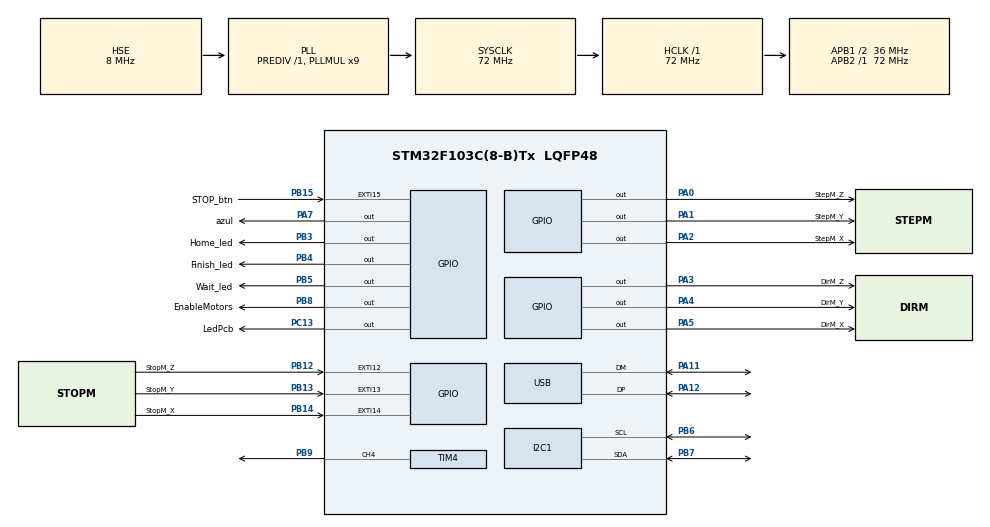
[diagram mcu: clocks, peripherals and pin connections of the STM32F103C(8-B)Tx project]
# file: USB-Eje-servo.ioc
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Mcu.Family=STM32F1
Mcu.Name=STM32F103C(8-B)Tx
Mcu.Package=LQFP48
NVIC.EXTI15_10_IRQn=true\:0\:0\:false\:false\:true\:true\:true\:true
NVIC.PriorityGroup=NVIC_PRIORITYGROUP_4
NVIC.TIM2_IRQn=true\:0\:0\:false\:false\:true\:true\:true\:true
NVIC.TIM3_IRQn=true\:0\:0\:false\:false\:true\:true\:true\:true
NVIC.USB_LP_CAN1_RX0_IRQn=true\:0\:0\:false\:false\:true\:false\:true\:true
PA0-WKUP.GPIO_Label=StepM_Z
PA0-WKUP.Signal=GPIO_Output
PA1.GPIO_Label=StepM_Y
PA1.Signal=GPIO_Output
PA11.Mode=Device
PA11.Signal=USB_DM
PA12.Mode=Device
PA12.Signal=USB_DP
PA13.Mode=Serial_Wire
PA13.Signal=SYS_JTMS-SWDIO
PA14.Mode=Serial_Wire
PA14.Signal=SYS_JTCK-SWCLK
PA2.GPIO_Label=StepM_X
PA2.Signal=GPIO_Output
PA3.GPIO_Label=DirM_Z
PA3.Signal=GPIO_Output
PA4.GPIO_Label=DirM_Y
PA4.Signal=GPIO_Output
PA5.GPIO_Label=DirM_X
PA5.Signal=GPIO_Output
PA7.GPIO_Label=azul
PA7.Signal=GPIO_Output
PB12.GPIO_Label=StopM_Z
PB12.Signal=GPXTI12
PB13.GPIO_Label=StopM_Y
PB13.Signal=GPXTI13
PB14.GPIO_Label=StopM_X
PB14.Signal=GPXTI14
PB15.GPIO_Label=STOP_btn
PB15.Signal=GPXTI15
PB3.GPIO_Label=Home_led
PB3.Signal=GPIO_Output
PB4.GPIO_Label=Finish_led
PB4.Signal=GPIO_Output
PB5.GPIO_Label=Wait_led
PB5.Signal=GPIO_Output
PB6.Mode=I2C
PB6.Signal=I2C1_SCL
PB7.Mode=I2C
PB7.Signal=I2C1_SDA
PB8.GPIO_Label=EnableMotors
PB8.Signal=GPIO_Output
PB9.Signal=S_TIM4_CH4
PC13-TAMPER-RTC.GPIO_Label=LedPcb
PC13-TAMPER-RTC.Signal=GPIO_Output
PC14-OSC32_IN.Mode=LSE-External-Oscillator
PC14-OSC32_IN.Signal=RCC_OSC32_IN
PC15-OSC32_OUT.Mode=LSE-External-Oscillator
PC15-OSC32_OUT.Signal=RCC_OSC32_OUT
PD0-OSC_IN.Mode=HSE-External-Oscillator
PD0-OSC_IN.Signal=RCC_OSC_IN
PD1-OSC_OUT.Mode=HSE-External-Oscillator
PD1-OSC_OUT.Signal=RCC_OSC_OUT
ProjectManager.HeapSize=0x200
ProjectManager.StackSize=0x400
ProjectManager.TargetToolchain=STM32CubeIDE
RCC.AHBFreq_Value=72000000
RCC.APB1CLKDivider=RCC_HCLK_DIV2
RCC.APB1Freq_Value=36000000
RCC.APB1TimFreq_Value=72000000
RCC.APB2Freq_Value=72000000
RCC.APB2TimFreq_Value=72000000
RCC.HCLKFreq_Value=72000000
RCC.PLLMUL=RCC_PLL_MUL9
RCC.SYSCLKFreq_VALUE=72000000
RCC.SYSCLKSource=RCC_SYSCLKSOURCE_PLLCLK
RCC.USBFreq_Value=48000000
RCC.USBPrescaler=RCC_USBCLKSOURCE_PLL_DIV1_5
SH.S_TIM4_CH4.0=TIM4_CH4,PWM Generation4 CH4
TIM2.Period=1000
TIM2.Prescaler=71
TIM3.Period=9999
TIM3.Prescaler=7199
TIM4.Channel-PWM\ Generation4\ CH4=TIM_CHANNEL_4
TIM4.Period=19999
TIM4.Prescaler=71
USB_DEVICE.CLASS_NAME_FS=CDC
USB_DEVICE.VirtualMode=Cdc
USB_DEVICE.VirtualModeFS=Cdc_FS
VP_TIM2_VS_ClockSourceINT.Mode=Internal
VP_TIM3_VS_ClockSourceINT.Mode=Internal
VP_TIM4_VS_ClockSourceINT.Mode=Internal
VP_USB_DEVICE_VS_USB_DEVICE_CDC_FS.Mode=CDC_FS
board=custom

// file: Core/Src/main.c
/* USER CODE BEGIN Header */
/**
  ******************************************************************************
  * @file           : main.c
  * @brief          : Main program body
  ******************************************************************************
  * @attention
  *
  * Copyright (c) 2023 STMicroelectronics.
  * All rights reserved.
  *
  * This software is licensed under terms that can be found in the LICENSE file
  * in the root directory of this software component.
  * If no LICENSE file comes with this software, it is provided AS-IS.
  *
  ******************************************************************************
  */
/* USER CODE END Header */
#include "main.h"
#include "i2c.h"
#include "tim.h"
#include "usb_device.h"
#include "gpio.h"

/* USER CODE BEGIN Includes */

#include "lcd_i2c.h"
#include <math.h>
#include <usbd_cdc_if.h>
#include <stdlib.h>
#include <stdio.h>
#include <string.h>

/* USER CODE END Includes */

/* USER CODE BEGIN PD */

//	Valores para el gripper sg90
#define PULSE_MIN 550
#define PULSE_MAX 2450

// Definición de las frecuencias de temporización (en Hertz)
#define TIMER_FREQUENCY 1000 // Por ejemplo, 1000 Hz (1 ms de intervalo)

// Número de motores que estás utilizando
#define NUM_MOTORS 3

/* USER CODE END PD */

/* USER CODE BEGIN PV */

// Motor's Struct
typedef struct {
    GPIO_TypeDef *stepPort;     // Puerto GPIO para el pin de paso (step)
    uint16_t stepPin;           // Número del pin de paso (step)
    GPIO_TypeDef *dirPort;      // Puerto GPIO para el pin de dirección (dir)
    uint16_t dirPin;            // Número del pin de dirección (dir)
    int direction;              // Dirección de movimiento (0 para positivo, 1 para negativo)
    int velocity;               // Velocidad del motor
    int microStepping;          // Configuración de microstepping
    int currentPosition;        // Posición actual del motor
    int newPosition;        	// Nueva posición del motor
    int stepCounter;            // Contador de pasos para controlar el intervalo
    int stepInterval;           // Intervalo entre pasos para controlar la velocidad
    int stopFlag;               // Bandera para detener el movimiento (0 para habilitar, 1 para detener)
} StepperMotor;

//	Cantidad de grados de libertad sin deflector final
StepperMotor motors[NUM_MOTORS];

//	Estado del deflector final
uint8_t estadoGarra = 0;

//	Vel Motors
uint16_t velMotor_X = 0;
uint16_t velMotor_Y = 0;
uint16_t velMotor_Z = 0;

//	Dir Motors
uint8_t DirM_X = 0;
uint8_t DirM_Y = 0;
uint8_t DirM_Z = 0;

// PROBAR DE CAMBIAR LOS PUNTEROS POR VALORES
//	FLAGS STOP GLOBALES
uint8_t flagStopM_X = 0;
uint8_t flagStopM_Y = 0;
uint8_t flagStopM_Z = 0;

//	FLAGS OPTICAL LIMIT SWITCH SENSOR PER AXIS GLOBALES
uint8_t opticalLimitSwitchSensor_X = 0;
uint8_t opticalLimitSwitchSensor_Y = 0;
uint8_t opticalLimitSwitchSensor_Z = 0;

///// Factor de microStepping
uint8_t microSteppingM_X = 1;
uint8_t microSteppingM_Y = 1;
uint8_t microSteppingM_Z = 1;

///// Flags de Homing
 uint8_t homeMotor_X = 0;
 uint8_t homeMotor_Y = 0;
 uint8_t homeMotor_Z = 0;
 int countHome = 0;

//	Cotador de segundos para el homming
uint8_t contSeconds = 0;

// Data to transmit CDC
char * data = "Hello World!";
uint8_t flagUsb = 0;
char buffer_rx[20];
char buffer_tx[40];
char buffer_data[5][6];
/*Buffer data
 * 0: Acción primaria
 * 1: Acción Secundaria
 * 2: Valores de velocidades
 * 3: Valores de posición
 * 4: Valor auxiliar
 */

//	LCD consts
uint8_t contador = 0;
char buf_lcd[18];

const char fig_1[8] = {0x0A, 0x0A, 0x0A, 0x00, 0x11, 0x11, 0x0E, 0x00};
const char fig_2[8] = {0x04, 0x11, 0x0E, 0x04, 0x04, 0x0A, 0x11, 0x00};
const char fig_3[8] = {0x00, 0x0A, 0x1F, 0x1F, 0x1F, 0x0E, 0x04, 0x00};
const char fig_4[8] = {0x0E, 0x1F, 0x1F, 0x0E, 0x0A, 0x11, 0x11, 0x00};
const char fig_5[8] = {0x04, 0x0E, 0x1F, 0x04, 0x04, 0x04, 0x04, 0x00};
const char fig_6[8] = {0x0E, 0x0A, 0x11, 0x11, 0x11, 0x1F, 0x1F, 0x00};
const char fig_7[8] = {0x04, 0x0E, 0x04, 0x04, 0x15, 0x15, 0x0E, 0x00};
const char fig_8[8] = {0x1F, 0x11, 0x0A, 0x04, 0x0A, 0x11, 0x1F, 0x00};

/* USER CODE END PV */

void SystemClock_Config(void);
/* USER CODE BEGIN PFP */

int HomingMotors(uint8_t* hmX, uint8_t* hmY, uint8_t* hmZ);
void ActivatedAll (int habilitar);
float deg2rad(float degrees);

//extern CircularBuffer<uint8_t> usbBuffer;
extern USBD_HandleTypeDef hUsbDeviceFS;
void CDC_FS_Substring(uint8_t inicioCadena, uint8_t finCadena, char* str, char* dst);

// Función para configurar el intervalo de paso en función de la velocidad del motor
void moveMotors(StepperMotor *motor, int * newPosition, int * velocity);
int targetComplete(StepperMotor *motor);

//	Función para mover el servo
void Servo_Write_angle(uint16_t theta);

/* USER CODE END PFP */

int main(void)
{

  /* MCU Configuration--------------------------------------------------------*/

  /* Reset of all peripherals, Initializes the Flash interface and the Systick. */
  HAL_Init();

  /* Configure the system clock */
  SystemClock_Config();

  /* Initialize all configured peripherals */
  MX_GPIO_Init();
  MX_TIM2_Init();
  MX_USB_DEVICE_Init();
  MX_TIM4_Init();
  MX_TIM3_Init();
  MX_I2C1_Init();
  /* USER CODE BEGIN 2 */

  // Apartado para inicializar el LCD
  Lcd_Init();

  ///// Configurar el bus Enable
  HAL_GPIO_WritePin(EnableMotors_GPIO_Port, EnableMotors_Pin, SET);

  // Inicialización de cada motor
  motors[0] = (StepperMotor){StepM_X_GPIO_Port, StepM_X_Pin, DirM_X_GPIO_Port, DirM_X_Pin, DirM_X, velMotor_X, microSteppingM_X, 0, 0, 0, 0, flagStopM_X};
  motors[1] = (StepperMotor){StepM_Y_GPIO_Port, StepM_Y_Pin, DirM_Y_GPIO_Port, DirM_Y_Pin, DirM_Y, velMotor_Y, microSteppingM_Y, 0, 0, 0, 0, flagStopM_Y};
  motors[2] = (StepperMotor){StepM_Z_GPIO_Port, StepM_Z_Pin, DirM_Z_GPIO_Port, DirM_Z_Pin, DirM_Z, velMotor_Z, microSteppingM_Z, 0, 0, 0, 0, flagStopM_Z};

  HAL_TIM_Base_Start_IT(&htim2);			// Iniciar el temporizador con interrupción
  HAL_TIM_PWM_Start(&htim4, TIM_CHANNEL_4);
  HAL_TIM_Base_Start_IT(&htim4);			// Iniciar el temporizador con interrupción
  HAL_TIM_Base_Start_IT(&htim3);

  // Envio datos al puerto USB
  CDC_Transmit_FS((uint8_t *) data, strlen (data));

  Lcd_Clear();
  Lcd_Set_Cursor(1,1);
  Lcd_Send_String("La Gaaarra!");
  Lcd_Set_Cursor(2,1);
  Lcd_Send_String("By: Mario uwu");
  Lcd_Set_Cursor(2,14);
  Lcd_Blink();
  HAL_Delay(2000);
  /* USER CODE END 2 */

  /* Infinite loop */
  /* USER CODE BEGIN WHILE */
  while (1)
  {
	  if(flagUsb == 1){
		  HAL_GPIO_TogglePin(LedPcb_GPIO_Port, LedPcb_Pin);
		  CDC_FS_Substring(1, 1, buffer_rx, buffer_data[0]);
//		  buffer_data[0] -> opcion
//		  if (*buffer_data[0] == 'H'){
		  if (buffer_data[0][0] == 'H'){
			  // Recordar poner ne homming el sevomotor también cerrado
			  Servo_Write_angle(0);
			  estadoGarra = 0;
			  int homeStatus = HomingMotors(&homeMotor_X, &homeMotor_Y, &homeMotor_Z);
//			  HAL_Delay(500);
			  if (homeStatus == 0){
				  sprintf(buffer_tx, "Home Status: %u\nHome exitoso!\r\n", homeStatus);
				  CDC_Transmit_FS((uint8_t*)buffer_tx, strlen(buffer_tx));
				  Lcd_Clear();
				  Lcd_Set_Cursor(1,1);
	 			  Lcd_Send_String("Home Status: OK");
	 			  Lcd_Set_Cursor(2,1);
	 			  Lcd_Send_String("X000|Y000|Z000|C");
				  HAL_Delay(150);
			  } else if (homeStatus == -1){
				  sprintf(buffer_tx, "Home Status: %u\nHome exitoso!\r\n", homeStatus);
				  CDC_Transmit_FS((uint8_t*)buffer_tx, strlen(buffer_tx));
				  Lcd_Clear();
				  Lcd_Set_Cursor(1,1);
	 			  Lcd_Send_String("Home Error: ejeX");
	 			  Lcd_Set_Cursor(2,1);
	 			  Lcd_Send_String("X???|Y000|Z000|C");
				  HAL_Delay(150);
			  } else if (homeStatus == -1){
				  sprintf(buffer_tx, "Home Status: %u\nFalla Home X!\r\n", homeStatus);
				  CDC_Transmit_FS((uint8_t*)buffer_tx, strlen(buffer_tx));
				  Lcd_Clear();
				  Lcd_Set_Cursor(1,1);
	 			  Lcd_Send_String("Home Error: ejeX");
	 			  Lcd_Set_Cursor(2,1);
	 			  Lcd_Send_String("X???|Y000|Z000|C");
				  HAL_Delay(150);
			  } else if (homeStatus == -2){
				  sprintf(buffer_tx, "Home Status: %u\nFalla Home Y!\r\n", homeStatus);
				  CDC_Transmit_FS((uint8_t*)buffer_tx, strlen(buffer_tx));
				  Lcd_Clear();
				  Lcd_Set_Cursor(1,1);
	 			  Lcd_Send_String("Home Error: ejeX");
	 			  Lcd_Set_Cursor(2,1);
	 			  Lcd_Send_String("X000|Y???|Z000|C");
				  HAL_Delay(150);
			  } else if (homeStatus == -3){
				  sprintf(buffer_tx, "Home Status: %u\nFalla Home Z!\r\n", homeStatus);
				  CDC_Transmit_FS((uint8_t*)buffer_tx, strlen(buffer_tx));
				  Lcd_Clear();
				  Lcd_Set_Cursor(1,1);
	 			  Lcd_Send_String("Home Error: ejeX");
	 			  Lcd_Set_Cursor(2,1);
	 			  Lcd_Send_String("X000|Y000|Z???|C");
				  HAL_Delay(150);
			  } else if (homeStatus == 1){
				  sprintf(buffer_tx, "Home Status: %u\nFalla en funcHome!\r\n", homeStatus);
				  CDC_Transmit_FS((uint8_t*)buffer_tx, strlen(buffer_tx));
				  Lcd_Clear();
				  Lcd_Set_Cursor(1,1);
	 			  Lcd_Send_String("ERROR Home: all!");
	 			  Lcd_Set_Cursor(2,1);
	 			  Lcd_Send_String("X???|Y???|Z???|?");
				  HAL_Delay(150);
			  }
			  HAL_Delay(1500);
		  }
		  //	CASO DE SETEO PARA VELOCIDADES GLOBALES
		  else if (buffer_data[0][0] == 'V'){
			  CDC_FS_Substring(2, 4, buffer_rx, buffer_data[2]);
			  for (int i = 0; i < NUM_MOTORS; ++i) {
				  motors[i].velocity = (uint8_t)atoi(buffer_data[2]);
			  }
			  Lcd_Set_Cursor(1,1);
//			  char v[4];
//			  sprintf(v, "%u", (uint8_t)atoi(buffer_data[2]));
// 			  Lcd_Send_String("Velocidades: %u", (uint8_t)atoi(buffer_data[2]));
			  sprintf(buffer_tx, "Velocidad globales seteadas.\r\n");
			  CDC_Transmit_FS((uint8_t*)buffer_tx, strlen(buffer_tx));
			  HAL_Delay(150);
		  }
		  //	CASO DE SETEO PARA VELOCIDADES POR EJES
		  else if (buffer_data[0][0] == 'v'){
			  for (int i = 0; i < NUM_MOTORS; ++i) {
				  motors[i].velocity = (uint8_t)atoi(buffer_data[2]);
			  }
			  CDC_FS_Substring(3, 5, buffer_rx, buffer_data[2]);
			  if (strcmp(buffer_data[1],"X")){
				  motors[0].velocity = (uint8_t)atoi(buffer_data[2]);
			  } else if (strcmp(buffer_data[1],"Y")){
				  motors[1].velocity = (uint8_t)atoi(buffer_data[2]);
			  } else if (strcmp(buffer_data[1],"Z")){
				  motors[2].velocity = (uint8_t)atoi(buffer_data[2]);
			  } else {
				  sprintf(buffer_tx, "Error en setear velocidades\r\n");
				  CDC_Transmit_FS((uint8_t*)buffer_tx, strlen(buffer_tx));
				  HAL_Delay(150);
			  }
		  }
		  //	CASO DE SETEO DE POSICIONES
		  else if (buffer_data[0][0] == 'D'){
			  char posiciones[3][5];
			  CDC_FS_Substring(2, 4, buffer_rx, posiciones[0]);
			  CDC_FS_Substring(6, 8, buffer_rx, posiciones[1]);
			  CDC_FS_Substring(9, 11, buffer_rx, posiciones[2]);
			  for (int i = 0; i < NUM_MOTORS; ++i) {
				  motors[i].newPosition = (uint8_t)atoi(buffer_data[i]);
			  }
		  }
		  //	CASO DE CONTROL DEL GRIPPER
		  else if (buffer_data[0][0] == 'P'){
			  CDC_FS_Substring(2, 4, buffer_rx, buffer_data[2]);
			  if (((uint8_t)atoi(buffer_data[2]) < 90) && ((uint8_t)atoi(buffer_data[2]) > 0)){
				  Servo_Write_angle((uint8_t)atoi(buffer_data[2]));
				  estadoGarra = 0;
				  sprintf(buffer_tx, "La Garra ha sido cerrada.\r\n");
				  CDC_Transmit_FS((uint8_t*)buffer_tx, strlen(buffer_tx));
				  Lcd_Set_Cursor(2, 16);
				  Lcd_Send_Char('C');
				  HAL_Delay(150);
			  } else if (((uint8_t)atoi(buffer_data[2]) >= 90)&& ((uint8_t)atoi(buffer_data[2]) > 0)){
				  Servo_Write_angle((uint8_t)atoi(buffer_data[2]));
				  estadoGarra = 1;
				  sprintf(buffer_tx, "La Garra ha sido abierta.\r\n");
				  CDC_Transmit_FS((uint8_t*)buffer_tx, strlen(buffer_tx));
				  Lcd_Set_Cursor(2, 16);
				  Lcd_Send_Char('A');
				  HAL_Delay(150);
			  } else {
				  sprintf(buffer_tx, "Error, valor invalido Gripper! \r\n");
				  CDC_Transmit_FS((uint8_t*)buffer_tx, strlen(buffer_tx));
				  Lcd_Set_Cursor(2, 16);
				  Lcd_Send_Char('?');
				  HAL_Delay(150);
			  }
		  }
		  //	CASO DE HABILITACION DE MOTORES
		  else if (buffer_data[0][0] == 'E'){
			  CDC_FS_Substring(2, 2, buffer_rx, buffer_data[2]);
			  if (((uint8_t)atoi(buffer_data[2]) == 1) && !((uint8_t)atoi(buffer_data[2]) < 0)){
				  ActivatedAll((uint8_t)atoi(buffer_data[2]));
				  sprintf(buffer_tx, "Se habilitaron los Motores.\r\n");
				  CDC_Transmit_FS((uint8_t*)buffer_tx, strlen(buffer_tx));
				  Lcd_Set_Cursor(1, 1);
				  Lcd_Send_String("Motores Enables!");
				  HAL_Delay(150);
			  } else if (((uint8_t)atoi(buffer_data[2]) == 0)&& !((uint8_t)atoi(buffer_data[2]) < 0)){
				  ActivatedAll((uint8_t)atoi(buffer_data[2]));
				  sprintf(buffer_tx, "Se deshabilitaron los Motores.\r\n");
				  CDC_Transmit_FS((uint8_t*)buffer_tx, strlen(buffer_tx));
				  Lcd_Set_Cursor(1, 1);
				  Lcd_Send_String("Motores Disables");
				  HAL_Delay(150);
			  } else {
				  sprintf(buffer_tx, "Error, ON/OFF motores! \r\n");
				  CDC_Transmit_FS((uint8_t*)buffer_tx, strlen(buffer_tx));
				  Lcd_Set_Cursor(1, 1);
				  Lcd_Send_String("<E ? Motores>");
				  HAL_Delay(150);
			  }
		  }
		  //	CASO DE HABILITACION DE MOTORES
		  else if (buffer_data[0][0] == 'S'){
			  ActivatedAll(-1);
			  sprintf(buffer_tx, "Se han detenido los Motores.\r\n");
			  Lcd_Set_Cursor(1, 1);
			  Lcd_Send_String("Motores Detenidos!");
			  HAL_Delay(150);
		  }
		  flagUsb = 0;
	  }
	  // Sin bandera de usb detectada
	  else {
		  if (countHome == 0){
			  Lcd_Set_Cursor(1,1);
			  Lcd_Send_String("Estado Global");
			  Lcd_Set_Cursor(2,1);
			  Lcd_Send_String("X???|Y???|Z???|?");
			  sprintf(buffer_tx, "Estado no definido\r\n");
			  CDC_Transmit_FS((uint8_t*)buffer_tx, strlen(buffer_tx));
			  HAL_Delay(750);
		  }
		  //	Caso de que el Home se haya realizado
		  else {
			  sprintf(buffer_tx, "Estado definido\r\n");
			  //	MOVER MOTORES
			  for (int k = 0; k < NUM_MOTORS; ++k) {
				  moveMotors(&motors[k], &motors[k].newPosition, &motors[k].velocity);
			  }
			  CDC_Transmit_FS((uint8_t*)buffer_tx, strlen(buffer_tx));
			  //	Actualizar LCD con datos
			  char posicionMotores[16];
			  char charGarra = '?';
			  if (estadoGarra == 0){
				  charGarra = 'C';
			  } else if (estadoGarra == 1){
				  charGarra = 'A';
			  }
			  char* position[3][4];
			  for (int i = 0; i < NUM_MOTORS; ++i) {
				  for (int j = 0; j < NUM_MOTORS; ++j) {
					  position[i][j] = '\0';
				  }
			  }
			  for (int j = 0; j < NUM_MOTORS; ++j) {
				  if (motors[j].currentPosition < 10){
					  //Agrego dos 0
					  sprintf(*position[j], "00%u", motors[j].currentPosition);
				  } else if (motors[j].currentPosition < 100){
					  //Agrego 1 cero
					  sprintf(*position[j], "0%u", motors[j].currentPosition);
				  } else {
					  //No agrego 0
					  sprintf(*position[j], "%u", motors[j].currentPosition);
				  }
			  }
			  sprintf(posicionMotores, "X%s|Y%s|Z%s|%c", position[0], position[1], position[2], charGarra);
			  Lcd_Set_Cursor(2, 1);
			  Lcd_Send_String(posicionMotores);
			  HAL_Delay(750);
		  }
	  }

    /* USER CODE END WHILE */

  }
}

void SystemClock_Config(void)
{
  RCC_OscInitTypeDef RCC_OscInitStruct = {0};
  RCC_ClkInitTypeDef RCC_ClkInitStruct = {0};
  RCC_PeriphCLKInitTypeDef PeriphClkInit = {0};

  /** Initializes the RCC Oscillators according to the specified parameters
  * in the RCC_OscInitTypeDef structure.
  */
  RCC_OscInitStruct.OscillatorType = RCC_OSCILLATORTYPE_HSE;
  RCC_OscInitStruct.HSEState = RCC_HSE_ON;
  RCC_OscInitStruct.HSEPredivValue = RCC_HSE_PREDIV_DIV1;
  RCC_OscInitStruct.HSIState = RCC_HSI_ON;
  RCC_OscInitStruct.PLL.PLLState = RCC_PLL_ON;
  RCC_OscInitStruct.PLL.PLLSource = RCC_PLLSOURCE_HSE;
  RCC_OscInitStruct.PLL.PLLMUL = RCC_PLL_MUL9;
  if (HAL_RCC_OscConfig(&RCC_OscInitStruct) != HAL_OK)
  {
    Error_Handler();
  }

  /** Initializes the CPU, AHB and APB buses clocks
  */
  RCC_ClkInitStruct.ClockType = RCC_CLOCKTYPE_HCLK|RCC_CLOCKTYPE_SYSCLK
                              |RCC_CLOCKTYPE_PCLK1|RCC_CLOCKTYPE_PCLK2;
  RCC_ClkInitStruct.SYSCLKSource = RCC_SYSCLKSOURCE_PLLCLK;
  RCC_ClkInitStruct.AHBCLKDivider = RCC_SYSCLK_DIV1;
  RCC_ClkInitStruct.APB1CLKDivider = RCC_HCLK_DIV2;
  RCC_ClkInitStruct.APB2CLKDivider = RCC_HCLK_DIV1;

  if (HAL_RCC_ClockConfig(&RCC_ClkInitStruct, FLASH_LATENCY_2) != HAL_OK)
  {
    Error_Handler();
  }
  PeriphClkInit.PeriphClockSelection = RCC_PERIPHCLK_USB;
  PeriphClkInit.UsbClockSelection = RCC_USBCLKSOURCE_PLL_DIV1_5;
  if (HAL_RCCEx_PeriphCLKConfig(&PeriphClkInit) != HAL_OK)
  {
    Error_Handler();
  }
}

/* USER CODE BEGIN 4 */

int HomingMotors(uint8_t* hmX, uint8_t* hmY, uint8_t* hmZ) {
	ActivatedAll(1);
    // Activar todos los motores y configurar velocidades
    for (int i = 0; i < NUM_MOTORS; i++) {
		motors[i].stepInterval = TIMER_FREQUENCY / (50 * motors[i].microStepping);
        motors[i].stopFlag = 1;   // Deshabilitar el movimiento
    }

    // Verificar el home de cada motor
    motors[0].stopFlag = 0;
    motors[1].stopFlag = 1;
    motors[2].stopFlag = 1;
	contSeconds = 0;
    HAL_TIM_Base_Start_IT(&htim3);
    while ((*hmX == 0 )&&(contSeconds < 3)){
        *hmX = motors[0].stopFlag;
    }
	motors[0].stopFlag = 1;
	motors[1].stopFlag = 0;
	motors[2].stopFlag = 1;
	contSeconds = 0;
    while ((*hmY == 0 )&&(contSeconds < 3)){
        *hmY = motors[1].stopFlag;
    }
    motors[0].stopFlag = 1;
    motors[1].stopFlag = 1;
    motors[2].stopFlag = 0;
	contSeconds = 0;
    while ((*hmZ == 0 )&&(contSeconds < 3)){
        *hmZ = motors[2].stopFlag;
    }
    HAL_TIM_Base_Stop_IT(&htim3);
    for (int i = 0; i < NUM_MOTORS; i++) {
        motors[i].velocity = 0; // Detener el motor
        motors[i].stepInterval = 0; // Detener el motor
        motors[i].currentPosition = 0; // Reiniciar la posición actual
        motors[i].stopFlag = 0;   // Habilitar el movimiento
    }
    if ((*hmX == 1 )&&(*hmY == 1 )&&(*hmZ == 1 )){// Apagar todos los motores y reiniciar posiciones
        countHome++;
        return 0;
    } else if (*hmX == 0 ){
    	return -1;
    } else if (*hmY == 0 ){
    	return -2;
    } else if (*hmZ == 0 ){
    	return -3;
    }
    return 1;
}

int targetComplete(StepperMotor *motor){
	uint8_t target = 0;
	for(int i = 0; i < NUM_MOTORS; i++){
		if (motor[i].currentPosition == motor[i].newPosition){
			target++;
		}
	}
	if (target == 3){
		return 1;
	} else {
		return 0;
	}
}

//	Función para definir comportamiento de los motores
void ActivatedAll (int habilitar){
	//		Pines Enable, Reset y Sleep comporten los mismos bus de datos
	//		para cada uno respectivamente de los distintos motores.
	//		Se recuerda que los pines son erntradas de lógica negada al A4988
	if (habilitar == -1){
	    for (int i = 0; i < NUM_MOTORS; i++) {
	        motors[i].velocity = 0; // Detener el motor
	        motors[i].stepInterval = 0; // Reiniciar la posición actual
	        motors[i].stopFlag = 1;   // Habilitar el movimiento
	    }
	}
	else if (habilitar == 1){
		HAL_GPIO_WritePin(EnableMotors_GPIO_Port, EnableMotors_Pin, RESET);			//	Se habilita el ENABLE
	}
	else if (habilitar == 0){
		HAL_GPIO_WritePin(EnableMotors_GPIO_Port, EnableMotors_Pin, SET);			//	Se Deshabilita el ENABLE
	}
}

//	Función para convertir grados a radianes
float deg2rad(float degrees) {
	return degrees * (M_PI / 180.0);
}

// Función para configurar el intervalo de paso en función de la velocidad del motor
void moveMotors(StepperMotor *motor, int *newPosition, int *velocity) {
	if (velocity != 0){
		motor->velocity = *velocity;
	}
	if (newPosition !=0){
		motor->newPosition = *newPosition;
	}
	if (motor->velocity != 0){
		if (motor->currentPosition < motor->newPosition){
			motor->direction = 0;
			motor->stopFlag = 0;
			motor->stepInterval = TIMER_FREQUENCY / (motor->velocity * motor->microStepping);
		} else if (motor->currentPosition > motor->newPosition){
			motor->direction = 1;
			motor->stopFlag = 0;
			motor->stepInterval = TIMER_FREQUENCY / (motor->velocity * motor->microStepping);
		}
	} else {
		motor->stepInterval = 0;
		motor->stopFlag = 1;
	}
}

// Función de retrollamada (callback) para la interrupción externa EXTI3
void HAL_GPIO_EXTI_Callback(uint16_t GPIO_Pin)
{
	if (GPIO_Pin == STOP_btn_Pin){
		HAL_GPIO_WritePin(EnableMotors_GPIO_Port, EnableMotors_Pin, SET);			//	Se Deshabilita el ENABLE
	    // Activar todos los motores y configurar velocidades
	    for (int i = 0; i < NUM_MOTORS; i++) {
	        motors[i].stopFlag = 1;   // Deshabilitar el movimiento
	    }
	}
	if (GPIO_Pin == StopM_X_Pin){
		if (flagStopM_X == 1){
			flagStopM_X = 0;
			motors[0].stopFlag = 0;
		} else {
			velMotor_X = 0;
			flagStopM_X = 1;
			motors[0].stopFlag = 1;
		}
		HAL_GPIO_TogglePin(azul_GPIO_Port, azul_Pin);
	}
	else if (GPIO_Pin == StopM_Y_Pin){
		if (flagStopM_Y == 1){
			flagStopM_Y = 0;
			motors[1].stopFlag = 0;
		} else {
			velMotor_Y = 0;
			flagStopM_Y = 1;
			motors[1].stopFlag = 1;
		}
		HAL_GPIO_TogglePin(azul_GPIO_Port, azul_Pin);
	}
	else if (GPIO_Pin == StopM_Z_Pin){
		if (flagStopM_Z == 1){
			flagStopM_Z = 0;
			motors[2].stopFlag = 0;
		} else {
			velMotor_Z = 0;
			flagStopM_Z = 1;
			motors[2].stopFlag = 1;
		}
		HAL_GPIO_TogglePin(azul_GPIO_Port, azul_Pin);
	}
  HAL_GPIO_EXTI_IRQHandler(StopM_X_Pin);  // Limpiar la bandera de interrupción EXTI3
  HAL_GPIO_EXTI_IRQHandler(StopM_Y_Pin);  // Limpiar la bandera de interrupción EXTI3
  HAL_GPIO_EXTI_IRQHandler(StopM_Z_Pin);  // Limpiar la bandera de interrupción EXTI3
  HAL_GPIO_EXTI_IRQHandler(STOP_btn_Pin);  // Limpiar la bandera de interrupción EXTI3
}

//	Función para mover el servo
void Servo_Write_angle(uint16_t theta){
	uint16_t pwm_servo;
	pwm_servo = (uint16_t)((theta-0)*(PULSE_MAX-PULSE_MIN)/(180-0)+PULSE_MIN);
	__HAL_TIM_SetCompare(&htim4, TIM_CHANNEL_4, pwm_servo);
}

//	FUNCIÓN PARA DIVIDIR Y COPIAR CADENAS (formatear)
void CDC_FS_Substring(uint8_t inicioCadena, uint8_t finCadena, char* str, char* dst){
	uint8_t pt = 0;
	for (uint16_t lt=inicioCadena; lt<finCadena; lt++){
		dst[pt] = str [lt];
		pt++;
	}
	dst[pt] = '\0';
	pt = 0;
}

void HAL_TIM_PeriodElapsedCallback(TIM_HandleTypeDef *htim) {
    if (htim->Instance == TIM2) {
		for (int i = 0; i < NUM_MOTORS; i++) {
			StepperMotor *motor = &motors[i];
			motor->stepCounter++;
			if ((motor->newPosition != motor->currentPosition) || (countHome >= 0)){
				if ((motor->stepCounter >= motor->stepInterval)&&(motor->stepInterval != 0)) {
					motor->stepCounter = 0;
					if (motor->stopFlag == 0) {
						if (motor->direction == 0) {
							motor->currentPosition += 1;
							HAL_GPIO_WritePin(motor->dirPort, motor->dirPin, SET);
						} else {
							motor->currentPosition -= 1;
							HAL_GPIO_WritePin(motor->dirPort, motor->dirPin, RESET);
						}
						HAL_GPIO_WritePin(motor->stepPort, motor->stepPin, SET);
					}
					HAL_GPIO_WritePin(motor->stepPort, motor->stepPin, RESET);
				}
			}
		}

	}
	if (htim->Instance == TIM3){
		//		TIMER para contar segundos
		contSeconds++;
	}
}

/* USER CODE END 4 */

void Error_Handler(void)
{
  __disable_irq();
  while (1)
  {
  }
}

#ifdef  USE_FULL_ASSERT
/**
  * @brief  Reports the name of the source file and the source line number
  *         where the assert_param error has occurred.
  * @param  file: pointer to the source file name
  * @param  line: assert_param error line source number
  * @retval None
  */
void assert_failed(uint8_t *file, uint32_t line)
{
  /* USER CODE BEGIN 6 */
  USBD_CDC_SetRxBuffer(&hUsbDeviceFS, &Buf[0]);
  USBD_CDC_ReceivePacket(&hUsbDeviceFS);
  return (USBD_OK);
  /* USER CODE END 6 */
}
#endif /* USE_FULL_ASSERT */
